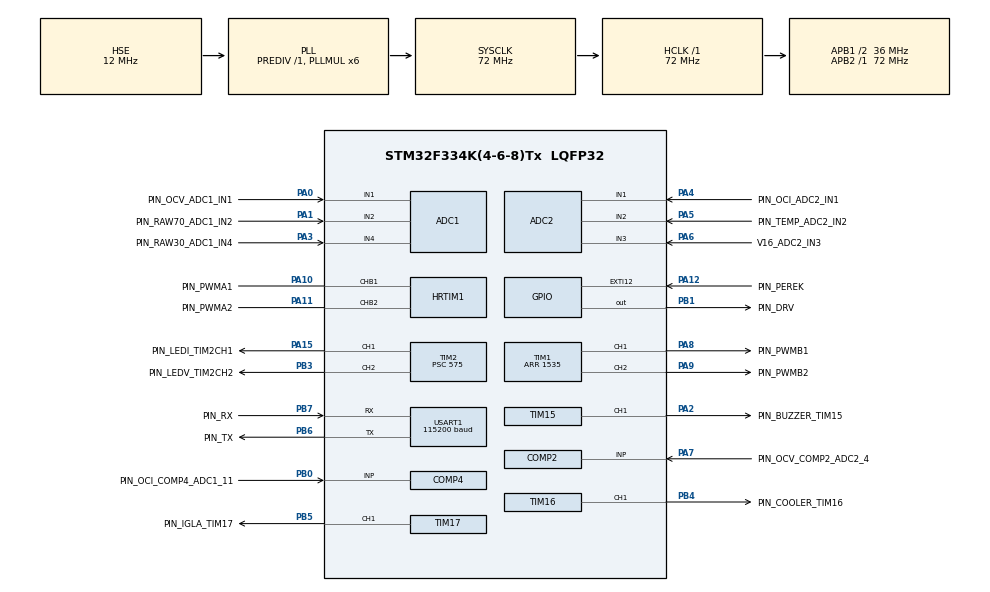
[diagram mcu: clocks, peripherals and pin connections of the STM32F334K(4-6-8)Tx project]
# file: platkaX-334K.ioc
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ADC1.AWD1HighThreshold=1900
ADC1.AWD1ITMode=DISABLE
ADC1.AWD1LowThreshold=1100
ADC1.AWD3HighThreshold=4095
ADC1.AWD3ITMode=DISABLE
ADC1.AWD3LowThreshold=0
ADC1.ContinuousConvMode=DISABLE
ADC1.DMAContinuousRequests=DISABLE
ADC1.EOCSelection=ADC_EOC_SEQ_CONV
ADC1.EnableAnalogWatchDog1=true
ADC1.EnableAnalogWatchDog2=false
ADC1.EnableAnalogWatchDog3=true
ADC1.EnableRegularConversion=DISABLE
ADC1.ExternalTrigInjecConv=ADC_EXTERNALTRIGINJECCONV_HRTIM_TRG2
ADC1.InjAWDChannel-1\#ChannelInjectedConversion=ADC_CHANNEL_1
ADC1.InjMonitoredBy-1\#ChannelInjectedConversion=ADC_ANALOGWATCHDOG_3
ADC1.InjMonitoredBy-2\#ChannelInjectedConversion=__NULL
ADC1.InjNumberOfConversion=2
ADC1.InjWDG2ChannelR1=ADC_CHANNEL_1_INJ
ADC1.InjWDG3ChannelR1=ADC_CHANNEL_1_INJ
ADC1.InjWDG3ChannelR2=ADC_CHANNEL_2_INJ
ADC1.InjWDG3ChannelR3=ADC_CHANNEL_1_INJ
ADC1.InjWDG3ChannelR4=ADC_CHANNEL_1_INJ
ADC1.InjectedChannel-1\#ChannelInjectedConversion=ADC_CHANNEL_1
ADC1.InjectedChannel-2\#ChannelInjectedConversion=ADC_CHANNEL_2
ADC1.InjectedOffset-1\#ChannelInjectedConversion=0
ADC1.InjectedOffset-2\#ChannelInjectedConversion=0
ADC1.InjectedOffsetNumber-1\#ChannelInjectedConversion=ADC_OFFSET_NONE
ADC1.InjectedOffsetNumber-2\#ChannelInjectedConversion=ADC_OFFSET_NONE
ADC1.InjectedRank-1\#ChannelInjectedConversion=1
ADC1.InjectedRank-2\#ChannelInjectedConversion=2
ADC1.InjectedSamplingTime-1\#ChannelInjectedConversion=ADC_SAMPLETIME_19CYCLES_5
ADC1.InjectedSamplingTime-2\#ChannelInjectedConversion=ADC_SAMPLETIME_19CYCLES_5
ADC1.InjectedSamplingTimeOPAMP-1\#ChannelInjectedConversion=ADC_SAMPLETIME_61CYCLES_5
ADC1.InjectedSamplingTimeOPAMP-2\#ChannelInjectedConversion=ADC_SAMPLETIME_61CYCLES_5
ADC1.SubFamily=STM32F334x8
ADC1.WDG2ChannelR1=ADC_CHANNEL_2
ADC1.WDG2ChannelR2=ADC_CHANNEL_11
ADC1.WDG2ChannelR3=ADC_CHANNEL_11
ADC1.WDG3ChannelR1=ADC_CHANNEL_2
ADC1.WatchdogChannel=ADC_CHANNEL_2
ADC1.WatchdogMode=ADC_ANALOGWATCHDOG_SINGLE_INJEC
ADC1.master=1
ADC2.AWD1HighThreshold=4095
ADC2.AWD1ITMode=DISABLE
ADC2.AWD2HighThreshold=4095
ADC2.AWD2ITMode=DISABLE
ADC2.AWD3HighThreshold=2500
ADC2.AWD3ITMode=DISABLE
ADC2.AWD3LowThreshold=900
ADC2.ContinuousConvMode=DISABLE
ADC2.DMAContinuousRequests=DISABLE
ADC2.EOCSelection=ADC_EOC_SEQ_CONV
ADC2.EnableAnalogWatchDog1=true
ADC2.EnableAnalogWatchDog2=true
ADC2.EnableAnalogWatchDog3=true
ADC2.EnableRegularConversion=DISABLE
ADC2.ExternalTrigInjecConv=ADC_EXTERNALTRIGINJECCONV_HRTIM_TRG2
ADC2.InjAWDChannel-2\#ChannelInjectedConversion=ADC_CHANNEL_2
ADC2.InjAWDChannel-3\#ChannelInjectedConversion=ADC_CHANNEL_3
ADC2.InjMonitoredBy-1\#ChannelInjectedConversion=__NULL
ADC2.InjMonitoredBy-2\#ChannelInjectedConversion=ADC_ANALOGWATCHDOG_2
ADC2.InjMonitoredBy-3\#ChannelInjectedConversion=ADC_ANALOGWATCHDOG_3
ADC2.InjNumberOfConversion=3
ADC2.InjWDG2ChannelR2=ADC_CHANNEL_2_INJ
ADC2.InjWDG3ChannelR3=ADC_CHANNEL_3_INJ
ADC2.InjectedChannel-1\#ChannelInjectedConversion=ADC_CHANNEL_1
ADC2.InjectedChannel-2\#ChannelInjectedConversion=ADC_CHANNEL_2
ADC2.InjectedChannel-3\#ChannelInjectedConversion=ADC_CHANNEL_3
ADC2.InjectedOffset-1\#ChannelInjectedConversion=0
ADC2.InjectedOffset-2\#ChannelInjectedConversion=0
ADC2.InjectedOffset-3\#ChannelInjectedConversion=0
ADC2.InjectedOffsetNumber-1\#ChannelInjectedConversion=ADC_OFFSET_NONE
ADC2.InjectedOffsetNumber-2\#ChannelInjectedConversion=ADC_OFFSET_NONE
ADC2.InjectedOffsetNumber-3\#ChannelInjectedConversion=ADC_OFFSET_NONE
ADC2.InjectedRank-1\#ChannelInjectedConversion=1
ADC2.InjectedRank-2\#ChannelInjectedConversion=2
ADC2.InjectedRank-3\#ChannelInjectedConversion=3
ADC2.InjectedSamplingTime-1\#ChannelInjectedConversion=ADC_SAMPLETIME_19CYCLES_5
ADC2.InjectedSamplingTime-2\#ChannelInjectedConversion=ADC_SAMPLETIME_19CYCLES_5
ADC2.InjectedSamplingTime-3\#ChannelInjectedConversion=ADC_SAMPLETIME_19CYCLES_5
ADC2.InjectedSamplingTimeOPAMP-1\#ChannelInjectedConversion=ADC_SAMPLETIME_61CYCLES_5
ADC2.InjectedSamplingTimeOPAMP-2\#ChannelInjectedConversion=ADC_SAMPLETIME_61CYCLES_5
ADC2.InjectedSamplingTimeOPAMP-3\#ChannelInjectedConversion=ADC_SAMPLETIME_61CYCLES_5
ADC2.SubFamily=STM32F334x8
ADC2.WDG2ChannelR1=ADC_CHANNEL_4
ADC2.WDG2ChannelR3=ADC_CHANNEL_2
ADC2.WDG3ChannelR2=ADC_CHANNEL_3
ADC2.WatchdogMode=ADC_ANALOGWATCHDOG_SINGLE_INJEC
COMP2.InvertingInput=COMP_INVERTINGINPUT_DAC1_CH2
COMP4.InvertingInput=COMP_INVERTINGINPUT_DAC2_CH1
DAC1.DAC_Trigger2=DAC_TRIGGER_NONE
DAC2.DAC_Trigger=DAC_TRIGGER_NONE
Dma.Request0=USART1_TX
Dma.Request1=USART1_RX
Dma.USART1_RX.1.Direction=DMA_PERIPH_TO_MEMORY
Dma.USART1_RX.1.Instance=DMA1_Channel5
Dma.USART1_RX.1.MemDataAlignment=DMA_MDATAALIGN_BYTE
Dma.USART1_RX.1.MemInc=DMA_MINC_ENABLE
Dma.USART1_RX.1.Mode=DMA_CIRCULAR
Dma.USART1_RX.1.PeriphDataAlignment=DMA_PDATAALIGN_BYTE
Dma.USART1_RX.1.PeriphInc=DMA_PINC_DISABLE
Dma.USART1_RX.1.Priority=DMA_PRIORITY_LOW
Dma.USART1_TX.0.Direction=DMA_MEMORY_TO_PERIPH
Dma.USART1_TX.0.Instance=DMA1_Channel4
Dma.USART1_TX.0.MemDataAlignment=DMA_MDATAALIGN_BYTE
Dma.USART1_TX.0.MemInc=DMA_MINC_ENABLE
Dma.USART1_TX.0.Mode=DMA_CIRCULAR
Dma.USART1_TX.0.PeriphDataAlignment=DMA_PDATAALIGN_BYTE
Dma.USART1_TX.0.PeriphInc=DMA_PINC_DISABLE
Dma.USART1_TX.0.Priority=DMA_PRIORITY_LOW
HRTIM1.ADCTrigger2_Source1=HRTIM_ADCTRIGGEREVENT24_MASTER_CMP2
HRTIM1.ADCTrigger2_Source2=HRTIM_ADCTRIGGEREVENT24_MASTER_CMP4
HRTIM1.ADCTrigger_Id2=HRTIM_ADCTRIGGER_2
HRTIM1.CaptureUnit1-Output_TB1TB2=HRTIM_CAPTUREUNIT_1
HRTIM1.CaptureUnit2-Output_TB1TB2=HRTIM_CAPTUREUNIT_2
HRTIM1.CompareUnit1-MasterTimer=HRTIM_COMPAREUNIT_1
HRTIM1.CompareUnit1-Output_TB1TB2=HRTIM_COMPAREUNIT_1
HRTIM1.CompareUnit2-MasterTimer=HRTIM_COMPAREUNIT_2
HRTIM1.CompareUnit2-Output_TB1TB2=HRTIM_COMPAREUNIT_2
HRTIM1.CompareUnit3-MasterTimer=HRTIM_COMPAREUNIT_3
HRTIM1.CompareUnit3-Output_TB1TB2=HRTIM_COMPAREUNIT_3
HRTIM1.CompareUnit4-MasterTimer=HRTIM_COMPAREUNIT_4
HRTIM1.CompareUnit4-Output_TB1TB2=HRTIM_COMPAREUNIT_4
HRTIM1.CompareValue1-MasterTimer=4096
HRTIM1.CompareValue1-Output_TB1TB2=4096
HRTIM1.CompareValue2-MasterTimer=6144
HRTIM1.CompareValue2-Output_TB1TB2=24576
HRTIM1.CompareValue3-MasterTimer=28672
HRTIM1.CompareValue3-Output_TB1TB2=28672
HRTIM1.CompareValue4-MasterTimer=30720
HRTIM1.CompareValue4-Output_TB1TB2=49152
HRTIM1.DMARequests1_Master=HRTIM_MASTER_DMA_NONE
HRTIM1.Event_EEV1=HRTIM_EVENT_1
HRTIM1.Event_EEV2=HRTIM_EVENT_2
HRTIM1.Event_EEV3=HRTIM_EVENT_3
HRTIM1.Event_EEV4=HRTIM_EVENT_4
HRTIM1.Event_EEV5=HRTIM_EVENT_5
HRTIM1.Event_EEV6=HRTIM_EVENT_6
HRTIM1.Event_EEV7=__NULL
HRTIM1.Event_EEV8=__NULL
HRTIM1.Event_EEV9=__NULL
HRTIM1.FastMode_EEV1=HRTIM_EVENTFASTMODE_ENABLE
HRTIM1.FastMode_EEV2=HRTIM_EVENTFASTMODE_ENABLE
HRTIM1.FastMode_EEV3=HRTIM_EVENTFASTMODE_ENABLE
HRTIM1.FastMode_EEV4=HRTIM_EVENTFASTMODE_ENABLE
HRTIM1.FastMode_EEV5=HRTIM_EVENTFASTMODE_ENABLE
HRTIM1.FaultLevel1-Output_TB1TB2=HRTIM_OUTPUTFAULTLEVEL_INACTIVE
HRTIM1.FaultLevel2-Output_TB1TB2=HRTIM_OUTPUTFAULTLEVEL_INACTIVE
HRTIM1.Fault_Line1=__NULL
HRTIM1.Filter_EEV6=HRTIM_EVENTFILTER_15
HRTIM1.HRTIMInterruptResquests1=HRTIM_IT_SYSFLT
HRTIM1.InterruptRequests1-Output_TB1TB2=HRTIM_TIM_IT_CMP2
HRTIM1.InterruptRequests1_Master=HRTIM_MASTER_IT_MREP
HRTIM1.ModeTimeBase-Output_TB1TB2=HRTIM_MODE_SINGLESHOT_RETRIGGERABLE
HRTIM1.NumberADCTriggerSource2=2
HRTIM1.NumberDMARequests_Master=0
HRTIM1.NumberFaultEnable-Output_TB1TB2=0
HRTIM1.NumberInterruptRequests-Output_TB1TB2=1
HRTIM1.NumberInterruptRequests_Master-MasterTimer=1
HRTIM1.NumberResetSource1-Output_TB1TB2=10
HRTIM1.NumberResetSource2_TB=10
HRTIM1.NumberResetTrigger-Output_TB1TB2=1
HRTIM1.NumberSetSource1-Output_TB1TB2=1
HRTIM1.NumberSetSource2_TB=1
HRTIM1.NumberTriggerSource_Captureconfig1-Output_TB1TB2=1
HRTIM1.NumberTriggerSource_Captureconfig2-Output_TB1TB2=1
HRTIM1.NumberUpdateTrigger-Output_TB1TB2=1
HRTIM1.Periode_MASTER=49152
HRTIM1.Periode_TB=49152
HRTIM1.PreloadEnable-MasterTimer=HRTIM_PRELOAD_ENABLED
HRTIM1.PreloadEnable-Output_TB1TB2=HRTIM_PRELOAD_ENABLED
HRTIM1.PrescalerRatio_MASTER=HRTIM_PRESCALERRATIO_MUL16
HRTIM1.PrescalerRatio_TB=HRTIM_PRESCALERRATIO_MUL16
HRTIM1.RepetitionUpdate-MasterTimer=HRTIM_UPDATEONREPETITION_ENABLED
HRTIM1.RepetitionUpdate-Output_TB1TB2=HRTIM_UPDATEONREPETITION_ENABLED
HRTIM1.ResetOutput1_Source1-Output_TB1TB2=HRTIM_OUTPUTRESET_TIMCMP2
HRTIM1.ResetOutput1_Source10-Output_TB1TB2=HRTIM_OUTPUTRESET_EEV_6
HRTIM1.ResetOutput1_Source2-Output_TB1TB2=HRTIM_OUTPUTRESET_MASTERCMP3
HRTIM1.ResetOutput1_Source3-Output_TB1TB2=HRTIM_OUTPUTRESET_MASTERCMP4
HRTIM1.ResetOutput1_Source4-Output_TB1TB2=HRTIM_OUTPUTRESET_MASTERPER
HRTIM1.ResetOutput1_Source5-Output_TB1TB2=HRTIM_OUTPUTRESET_TIMCMP3
HRTIM1.ResetOutput1_Source6-Output_TB1TB2=HRTIM_OUTPUTRESET_TIMCMP4
HRTIM1.ResetOutput1_Source7-Output_TB1TB2=HRTIM_OUTPUTRESET_EEV_3
HRTIM1.ResetOutput1_Source8-Output_TB1TB2=HRTIM_OUTPUTRESET_EEV_4
HRTIM1.ResetOutput1_Source9-Output_TB1TB2=HRTIM_OUTPUTRESET_EEV_5
HRTIM1.ResetOutput2_Source1-Output_TB1TB2=HRTIM_OUTPUTRESET_TIMCMP4
HRTIM1.ResetOutput2_Source10-Output_TB1TB2=HRTIM_OUTPUTRESET_EEV_6
HRTIM1.ResetOutput2_Source2-Output_TB1TB2=HRTIM_OUTPUTRESET_MASTERPER
HRTIM1.ResetOutput2_Source3-Output_TB1TB2=HRTIM_OUTPUTRESET_MASTERCMP1
HRTIM1.ResetOutput2_Source4-Output_TB1TB2=HRTIM_OUTPUTRESET_MASTERCMP2
HRTIM1.ResetOutput2_Source5-Output_TB1TB2=HRTIM_OUTPUTRESET_TIMCMP1
HRTIM1.ResetOutput2_Source6-Output_TB1TB2=HRTIM_OUTPUTRESET_TIMCMP2
HRTIM1.ResetOutput2_Source7-Output_TB1TB2=HRTIM_OUTPUTRESET_EEV_3
HRTIM1.ResetOutput2_Source8-Output_TB1TB2=HRTIM_OUTPUTRESET_EEV_4
HRTIM1.ResetOutput2_Source9-Output_TB1TB2=HRTIM_OUTPUTRESET_EEV_5
HRTIM1.ResetTrigger1-Output_TB1TB2=HRTIM_TIMRESETTRIGGER_MASTER_PER
HRTIM1.ResetUpdate-Output_TB1TB2=HRTIM_TIMUPDATEONRESET_ENABLED
HRTIM1.SetOutput1_Source1-Output_TB1TB2=HRTIM_OUTPUTSET_TIMCMP1
HRTIM1.SetOutput2_Source1-Output_TB1TB2=HRTIM_OUTPUTSET_TIMCMP3
HRTIM1.Source_EEV3=HRTIM_EVENTSRC_4
HRTIM1.Source_EEV4=HRTIM_EVENTSRC_4
HRTIM1.Source_EEV6=HRTIM_EVENTSRC_4
HRTIM1.TriggerCapture1_Source1-Output_TB1TB2=HRTIM_CAPTURETRIGGER_EEV_1
HRTIM1.TriggerCapture2_Source1-Output_TB1TB2=HRTIM_CAPTURETRIGGER_EEV_2
HRTIM1.UpdateTrigger1-Output_TB1TB2=HRTIM_TIMUPDATETRIGGER_MASTER
IWDG.Prescaler=IWDG_PRESCALER_256
Mcu.Family=STM32F3
Mcu.Name=STM32F334K(4-6-8)Tx
Mcu.Package=LQFP32
NVIC.ADC1_2_IRQn=true\:1\:0\:true\:true\:true\:4\:true\:true
NVIC.DMA1_Channel4_IRQn=true\:4\:0\:true\:true\:true\:7\:false\:true
NVIC.DMA1_Channel5_IRQn=true\:4\:0\:true\:true\:true\:8\:false\:true
NVIC.EXTI15_10_IRQn=true\:3\:0\:true\:true\:true\:6\:true\:true
NVIC.HRTIM1_FLT_IRQn=true\:0\:0\:false\:true\:true\:3\:true\:true
NVIC.HRTIM1_Master_IRQn=true\:0\:0\:false\:true\:true\:1\:true\:true
NVIC.HRTIM1_TIMB_IRQn=true\:0\:0\:false\:true\:true\:2\:true\:true
NVIC.PVD_IRQn=true\:3\:0\:true\:true\:true\:5\:true\:true
NVIC.PriorityGroup=NVIC_PRIORITYGROUP_4
NVIC.USART1_IRQn=true\:5\:0\:true\:true\:true\:9\:true\:true
PA0.GPIO_Label=PIN_OCV_ADC1_IN1
PA0.Mode=IN1-Single-Ended
PA0.Signal=ADC1_IN1
PA1.GPIO_Label=PIN_RAW70_ADC1_IN2
PA1.Mode=IN2-Single-Ended
PA1.Signal=ADC1_IN2
PA10.GPIO_Label=PIN_PWMA1
PA10.Mode=Output_TB1TB2
PA10.Signal=HRTIM1_CHB1
PA11.GPIO_Label=PIN_PWMA2
PA11.Mode=Output_TB1TB2
PA11.Signal=HRTIM1_CHB2
PA12.GPIO_Label=PIN_PEREK
PA12.GPIO_ModeDefaultEXTI=GPIO_MODE_IT_RISING_FALLING
PA12.Signal=GPXTI12
PA13.GPIO_Label=PIN_DIO
PA13.Mode=Serial_Wire
PA13.Signal=SYS_JTMS-SWDIO
PA14.GPIO_Label=PIN_CLK
PA14.Mode=Serial_Wire
PA14.Signal=SYS_JTCK-SWCLK
PA15.GPIO_Label=PIN_LEDI_TIM2CH1
PA15.GPIO_Speed=GPIO_SPEED_FREQ_HIGH
PA15.Signal=S_TIM2_CH1_ETR
PA2.GPIO_Label=PIN_BUZZER_TIM15
PA2.GPIO_Speed=GPIO_SPEED_FREQ_HIGH
PA2.Signal=S_TIM15_CH1
PA3.GPIO_Label=PIN_RAW30_ADC1_IN4
PA3.Mode=IN4-Single-Ended
PA3.Signal=ADC1_IN4
PA4.GPIO_Label=PIN_OCI_ADC2_IN1
PA4.Mode=IN1-Single-Ended
PA4.Signal=ADC2_IN1
PA5.GPIO_Label=PIN_TEMP_ADC2_IN2
PA5.Mode=IN2-Single-Ended
PA5.Signal=ADC2_IN2
PA6.GPIO_Label=V16_ADC2_IN3
PA6.Mode=IN3-Single-Ended
PA6.Signal=ADC2_IN3
PA7.GPIO_Label=PIN_OCV_COMP2_ADC2_4
PA7.Signal=SharedAnalog_PA7
PA8.GPIO_Label=PIN_PWMB1
PA8.GPIO_Speed=GPIO_SPEED_FREQ_HIGH
PA8.Signal=S_TIM1_CH1
PA9.GPIO_Label=PIN_PWMB2
PA9.GPIO_Speed=GPIO_SPEED_FREQ_HIGH
PA9.Signal=S_TIM1_CH2
PB0.GPIO_Label=PIN_OCI_COMP4_ADC1_11
PB0.Signal=SharedAnalog_PB0
PB1.GPIO_Label=PIN_DRV
PB1.GPIO_Speed=GPIO_SPEED_FREQ_HIGH
PB1.PinState=GPIO_PIN_SET
PB1.Signal=GPIO_Output
PB3.GPIO_Label=PIN_LEDV_TIM2CH2
PB3.GPIO_Speed=GPIO_SPEED_FREQ_HIGH
PB3.Signal=S_TIM2_CH2
PB4.GPIO_Label=PIN_COOLER_TIM16
PB4.GPIO_Speed=GPIO_SPEED_FREQ_HIGH
PB4.Signal=S_TIM16_CH1
PB5.GPIO_Label=PIN_IGLA_TIM17
PB5.GPIO_Speed=GPIO_SPEED_FREQ_HIGH
PB5.Signal=S_TIM17_CH1
PB6.GPIO_FM6=SYSCFG_CFGR1_I2C_PB6_FMP
PB6.GPIO_Label=PIN_TX
PB6.Mode=Asynchronous
PB6.Signal=USART1_TX
PB7.GPIO_FM7=SYSCFG_CFGR1_I2C_PB7_FMP
PB7.GPIO_Label=PIN_RX
PB7.Mode=Asynchronous
PB7.Signal=USART1_RX
PF0\ /\ OSC_IN.GPIO_Label=PIN_PF0
PF0\ /\ OSC_IN.Mode=HSE-External-Oscillator
PF0\ /\ OSC_IN.Signal=RCC_OSC_IN
PF1\ /\ OSC_OUT.GPIO_Label=PIN_PF1
PF1\ /\ OSC_OUT.Mode=HSE-External-Oscillator
PF1\ /\ OSC_OUT.Signal=RCC_OSC_OUT
ProjectManager.HeapSize=0x200
ProjectManager.StackSize=0x400
ProjectManager.TargetToolchain=STM32CubeIDE
RCC.AHBFreq_Value=72000000
RCC.APB1CLKDivider=RCC_HCLK_DIV2
RCC.APB1Freq_Value=36000000
RCC.APB1TimFreq_Value=72000000
RCC.APB2Freq_Value=72000000
RCC.APB2TimFreq_Value=72000000
RCC.CortexFreq_Value=72000000
RCC.HCLKFreq_Value=72000000
RCC.HRTIMSelection=RCC_HRTIM1CLK_PLLCLK
RCC.HSE_VALUE=12000000
RCC.HSI_VALUE=8000000
RCC.PLLMUL=RCC_PLL_MUL6
RCC.PLLSourceVirtual=RCC_PLLSOURCE_HSE
RCC.SYSCLKFreq_VALUE=72000000
RCC.SYSCLKSourceVirtual=RCC_SYSCLKSOURCE_PLLCLK
RCC.TIM1Selection=RCC_TIM1CLK_PLLCLK
RCC.Usart1ClockSelection=RCC_USART1CLKSOURCE_SYSCLK
SH.S_TIM15_CH1.0=TIM15_CH1,PWM Generation1 CH1
SH.S_TIM16_CH1.0=TIM16_CH1,PWM Generation1 CH1
SH.S_TIM17_CH1.0=TIM17_CH1,PWM Generation1 CH1
SH.S_TIM1_CH1.0=TIM1_CH1,PWM Generation1 CH1
SH.S_TIM1_CH2.0=TIM1_CH2,PWM Generation2 CH2
SH.S_TIM2_CH1_ETR.0=TIM2_CH1,PWM Generation1 CH1
SH.S_TIM2_CH2.0=TIM2_CH2,PWM Generation2 CH2
SH.SharedAnalog_PA7.0=COMP2_INP,INP
SH.SharedAnalog_PA7.1=ADC2_IN4,IN4-Single-Ended
SH.SharedAnalog_PB0.0=COMP4_INP,INP
SH.SharedAnalog_PB0.1=ADC1_IN11,IN11-Single-Ended
TIM1.AutoReloadPreload=TIM_AUTORELOAD_PRELOAD_ENABLE
TIM1.Channel-PWM\ Generation1\ CH1=TIM_CHANNEL_1
TIM1.Channel-PWM\ Generation2\ CH2=TIM_CHANNEL_2
TIM1.OCFastMode_PWM-PWM\ Generation1\ CH1=TIM_OCFAST_ENABLE
TIM1.OCFastMode_PWM-PWM\ Generation2\ CH2=TIM_OCFAST_ENABLE
TIM1.Period=1535
TIM15.AutoReloadPreload=TIM_AUTORELOAD_PRELOAD_ENABLE
TIM15.Channel-PWM\ Generation1\ CH1=TIM_CHANNEL_1
TIM15.OCFastMode_PWM-PWM\ Generation1\ CH1=TIM_OCFAST_ENABLE
TIM15.Period=63999
TIM15.Prescaler=2249
TIM15.Pulse-PWM\ Generation1\ CH1=64
TIM16.AutoReloadPreload=TIM_AUTORELOAD_PRELOAD_ENABLE
TIM16.Channel=TIM_CHANNEL_1
TIM16.OCFastMode_PWM=TIM_OCFAST_ENABLE
TIM16.Period=35999
TIM16.Prescaler=1
TIM16.Pulse=18000
TIM17.AutoReloadPreload=TIM_AUTORELOAD_PRELOAD_ENABLE
TIM17.AutomaticOutput=TIM_AUTOMATICOUTPUT_DISABLE
TIM17.BreakState=TIM_BREAK_DISABLE
TIM17.Channel=TIM_CHANNEL_1
TIM17.OCFastMode_PWM=TIM_OCFAST_ENABLE
TIM17.OffStateIDLEMode=TIM_OSSI_DISABLE
TIM17.OffStateRunMode=TIM_OSSR_DISABLE
TIM17.Period=7199
TIM17.Pulse=3600
TIM2.AutoReloadPreload=TIM_AUTORELOAD_PRELOAD_ENABLE
TIM2.Channel-PWM\ Generation1\ CH1=TIM_CHANNEL_1
TIM2.Channel-PWM\ Generation2\ CH2=TIM_CHANNEL_2
TIM2.OCFastMode_PWM-PWM\ Generation1\ CH1=TIM_OCFAST_ENABLE
TIM2.OCFastMode_PWM-PWM\ Generation2\ CH2=TIM_OCFAST_ENABLE
TIM2.Period=62499
TIM2.Prescaler=575
TIM2.Pulse-PWM\ Generation1\ CH1=625
TIM2.Pulse-PWM\ Generation2\ CH2=625
USART1.BaudRate=115200
USART1.VirtualMode-Asynchronous=VM_ASYNC
VP_COMP2_VS_DAC1OUT2.Mode=INM_DAC1OUT2
VP_COMP4_VS_DAC2OUT1.Mode=INM_DAC2OUT1
VP_CRC_VS_CRC.Mode=CRC_Activate
VP_DAC1_Switcher_Out2.Mode=Switch_Disable_OUT2
VP_DAC2_Switcher_Out1.Mode=Switch_Disable_OUT1
VP_HRTIM1_VS_hrtimMasterTimerNoOutput.Mode=MasterTimer
VP_IWDG_VS_IWDG.Mode=IWDG_Activate
VP_TIM15_VS_ClockSourceINT.Mode=Internal
VP_TIM16_VS_ClockSourceINT.Mode=Enable_Timer
VP_TIM17_VS_ClockSourceINT.Mode=Enable_Timer
VP_TIM1_VS_ClockSourceINT.Mode=Internal
VP_TIM2_VS_ClockSourceINT.Mode=Internal
board=custom

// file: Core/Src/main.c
/* USER CODE BEGIN Header */
/**
  ******************************************************************************
  * @file           : main.c
  * @brief          : Main program body
  ******************************************************************************
  * @attention
  *
  * <h2><center>&copy; Copyright (c) 2020 STMicroelectronics.
  * All rights reserved.</center></h2>
  *
  * This software component is licensed by ST under BSD 3-Clause license,
  * the "License"; You may not use this file except in compliance with the
  * License. You may obtain a copy of the License at:
  *                        opensource.org/licenses/BSD-3-Clause
  *
  ******************************************************************************
  */
/* USER CODE END Header */
#include "main.h"
#include "adc.h"
#include "comp.h"
#include "crc.h"
#include "dac.h"
#include "dma.h"
#include "hrtim.h"
#include "iwdg.h"
#include "tim.h"
#include "usart.h"
#include "gpio.h"

/* USER CODE BEGIN Includes */
#include "plxOC_V.h"
#include "plxOC_I.h"
#include "plxADC.h"
#include "plxPID.h"
/* USER CODE END Includes */

/* USER CODE BEGIN PV */
float resultPID = 0.0f;
/* USER CODE END PV */

void SystemClock_Config(void);
static void MX_NVIC_Init(void);
/* USER CODE BEGIN PFP */
void PWM_OutputOFF(void);
void PWM_OutputON(void);
void ResetHRTIMdef(void);
void StartHRTIM(void);
void StopHRTIM(void);
void SetDacs(void);
void ResetDacs(void);
void SetPWMCycle(void);
/* USER CODE END PFP */

/* USER CODE BEGIN 0 */

void PWM_OutputOFF(void)
{
	HRTIM1->sCommonRegs.ODISR= HRTIM_ODISR_TB1ODIS + HRTIM_ODISR_TB2ODIS;  // Disable HRTIM's output
}

void PWM_OutputON(void)
{
	HRTIM1->sCommonRegs.OENR = HRTIM_OENR_TB1OEN + HRTIM_OENR_TB2OEN;  //Enable HRTIM's outputs
}

void ResetHRTIMdef(void)
{
	HRTIM1->sTimerxRegs[1].CMP2xR=PULS_A_END;
	HRTIM1->sTimerxRegs[1].CMP4xR=PULS_B_END;
	TIM1->CCR1=0;
	TIM1->CCR2=0;
	TOP_BOTTOM=0;
	Sinus_Ind=0;
	SetDacs();
	ResetADCBuff(plxOCV,sizeBuffer);
	ResetADCBuff(plxOCI,sizeBuffer);
	BufferIndOC=0;
}

void StartHRTIM(void)
{
	PWM_OutputON(); //Enable HRTIM's outputs
	HAL_HRTIM_WaveformCountStart_IT(&hhrtim1, HRTIM_TIMERID_MASTER +  HRTIM_TIMERID_TIMER_B); // Start HRTIM's Master TIMER and TIMER B

}

void StopHRTIM(void)
{
	PWM_OutputOFF(); // Disable HRTIM's output
	HAL_HRTIM_WaveformCountStop_IT(&hhrtim1, HRTIM_TIMERID_MASTER +  HRTIM_TIMERID_TIMER_B); // Stop HRTIM's Master TIMER and TIMER B
	ResetHRTIMdef();
}

void SetDacs(void)
{
	DAC2->DHR12R1 = Current_Level;
	DAC1->DHR12R2 = OC_V_Table[Sinus_Ind];
}

void ResetDacs(void)
{
	DAC2->DHR12R1 = Current_Level_Reset;
	DAC1->DHR12R2 = Voltage_Level_Reset;
}

/*void HAL_HRTIM_Compare2EventCallback(HRTIM_HandleTypeDef * hhrtim,
                                              uint32_t TimerIdx)
{
	ResetDacs();
	SetPWMCycle();
	SetDacs();
}*/

void SetPWMCycle(void)
{
	uint32_t a_puls=PULS_A_BEGIN+(uint32_t)(4*OC_V_Table[Sinus_Ind]);
	uint32_t b_puls=PULS_B_BEGIN+(uint32_t)(4*OC_V_Table[Sinus_Ind]);

	if (a_puls>PULS_A_END) {
		a_puls=PULS_A_END;
	}

	if (b_puls>PULS_B_END) {
		b_puls=PULS_B_END;
	}

	HRTIM1->sTimerxRegs[1].CMP2xR=a_puls;
	HRTIM1->sTimerxRegs[1].CMP4xR=b_puls;
}

void HAL_HRTIM_RepetitionEventCallback(HRTIM_HandleTypeDef * hhrtim,
                                              uint32_t TimerIdx)
{
	ResetDacs();

	if (Sinus_Ind==Sinus_Table_Resolution-1)
	{
		//Sinus_Ind=0;
		TIM1->CCR1=0;
		TIM1->CCR2=0;
		PWM_OutputOFF();
		//HRTIM1->sMasterRegs.MREP=4;
	}

	Sinus_Ind++;

	if (Sinus_Ind>=MAX_SIN) {
			Sinus_Ind=0;
			if (TOP_BOTTOM==0) {
				TIM1->CCR1=1535;
				TIM1->CCR2=0;
				TOP_BOTTOM=1; //next bottom
			} else {
				TIM1->CCR1=0;
				TIM1->CCR2=1553;
				TOP_BOTTOM=0; // next top
			}
			PWM_OutputON();
			//HRTIM1->sMasterRegs.MREP=0;
	}

	SetPWMCycle();

	SetDacs();
}

void HAL_GPIO_EXTI_Callback(uint16_t GPIO_Pin)
{
	if (HAL_GPIO_ReadPin(PIN_PEREK_GPIO_Port, PIN_PEREK_Pin)==GPIO_PIN_SET)
		{
			StartHRTIM();
		} else {
			StopHRTIM();
		}
}

void HAL_ADCEx_InjectedConvCpltCallback(ADC_HandleTypeDef* hadc)
{
	BufferInd++;
	BufferIndOC++;
	if (BufferInd>=sizeBuffer) {
		BufferInd=0;
	}
	if (BufferIndOC>=sizeBuffer) {
		BufferIndOC=0;
	}
	GetADC1();
	GetADC2();
	CalcFlag=1;
}

/* USER CODE END 0 */

int main(void)
{

  /* MCU Configuration--------------------------------------------------------*/

  /* Reset of all peripherals, Initializes the Flash interface and the Systick. */
  HAL_Init();

  /* Configure the system clock */
  SystemClock_Config();

  /* Initialize all configured peripherals */
  MX_GPIO_Init();
  MX_DMA_Init();
  MX_HRTIM1_Init();
  MX_IWDG_Init();
  MX_TIM1_Init();
  MX_USART1_UART_Init();
  MX_DAC1_Init();
  MX_DAC2_Init();
  MX_ADC1_Init();
  MX_ADC2_Init();
  MX_COMP2_Init();
  MX_COMP4_Init();
  MX_TIM2_Init();
  MX_TIM15_Init();
  MX_TIM16_Init();
  MX_TIM17_Init();
  MX_CRC_Init();

  /* Initialize interrupts */
  MX_NVIC_Init();
  /* USER CODE BEGIN 2 */

  //*****************************************************//
  //Start LED_V , LED_I Timer2
  HAL_TIM_PWM_Start(&htim2, TIM_CHANNEL_1);
  HAL_TIM_PWM_Start(&htim2, TIM_CHANNEL_2);
  //*****************************************************//

  //*****************************************************//
  //Start Buzzer Timer15
  HAL_TIM_PWM_Start(&htim15, TIM_CHANNEL_1);
  //*****************************************************//

  //*****************************************************//
  //Start Cooler Timer16
  HAL_TIM_PWM_Start(&htim16, TIM_CHANNEL_1);
  //*****************************************************//

  //*****************************************************//
  //Start IGLA Timer17
  HAL_TIM_PWM_Start(&htim17, TIM_CHANNEL_1);
  //*****************************************************//

  //*****************************************************//
  //Start 50HZ Timer1
  HAL_TIM_PWM_Start(&htim1, TIM_CHANNEL_1);
  HAL_TIM_PWM_Start(&htim1, TIM_CHANNEL_2);
  //*****************************************************//

  //*****************************************************//
  //Start DAC2 Out1 Current
  HAL_DAC_Start(&hdac2, DAC_CHANNEL_1);
  //*****************************************************//

  //*****************************************************//
  //Start DAC1 Out2 Volatge
  HAL_DAC_Start(&hdac1, DAC_CHANNEL_2);
  //*****************************************************//

  //*****************************************************//
  //Start COMP2 (Voltage) and COMP4 (Current)
  HAL_COMP_Start(&hcomp2);
  HAL_COMP_Start(&hcomp4);
  //*****************************************************//

  //*****************************************************//
  //Pre-Init Global
  ResetADCBuff(plxV16,sizeBuffer);
  ResetADCBuff(plxRAW,sizeBuffer);
  ResetADCBuff(plxTEMP,sizeBuffer);
  BufferInd=0;
  ResetHRTIMdef();
  //*****************************************************//

  //*****************************************************//
  //Start ADC1 and ADC2
  //HAL_ADC_Start_DMA(&hadc1,
  //                        (uint32_t *)ADC1_Data,
  //						  ADC1_Cnt_Channel);
  HAL_ADCEx_Calibration_Start(&hadc2,ADC_SINGLE_ENDED);
  HAL_ADCEx_Calibration_Start(&hadc1,ADC_SINGLE_ENDED);
  HAL_ADCEx_InjectedStart(&hadc1);
  HAL_ADCEx_InjectedStart_IT(&hadc2);
  //*****************************************************//

  //*****************************************************//
  //Unblock Driver Output
  HAL_GPIO_WritePin(PIN_DRV_GPIO_Port, PIN_DRV_Pin, GPIO_PIN_RESET);
  //*****************************************************//

  //*****************************************************//
  //Start
  HAL_GPIO_EXTI_Callback(PIN_PEREK_Pin);
  //*****************************************************//

  /* USER CODE END 2 */

  /* Infinite loop */
  /* USER CODE BEGIN WHILE */
  TIM15->CCR1=0; //stop Buzzer
  HAL_Delay(3000);
  StartHRTIM();

  while (1)
  {
	hiwdg.Instance->KR=IWDG_KEY_RELOAD; // reload IWDG

	if (CalcFlag==1) {
		gV16=FilterWindowMedium(plxV16, sizeBuffer, sizeWindow);
		gRAW=FilterWindowMedium(plxRAW, sizeBuffer, sizeWindow);
		gTEMP=FilterWindowMedium(plxTEMP, sizeBuffer, sizeWindow);

		hiwdg.Instance->KR=IWDG_KEY_RELOAD; // reload IWDG

		gOCV=FilterWindowMedium(plxOCV, sizeBuffer, sizeWindow);
		gOCI=FilterWindowMedium(plxOCI, sizeBuffer, sizeWindow);

		hiwdg.Instance->KR=IWDG_KEY_RELOAD; // reload IWDG

		// Volatge
		resultPID = 0.0f;
		pid_SetReference(2.2); //reference voltage opora
		pid_SetSaturation(-40000, 40000);
		pid_SetFeedback(gOCV, 0.0002);
		pid_SetCoefficient(50, 0, 0, 0, 0);
		pid_Compute();
		resultPID = pid_Get();

		// Current
		/*resultPID = 0.0f;
		pid_SetReference(2.2); //reference voltage current
		pid_SetSaturation(-40000, 40000);
		pid_SetFeedback(gOCV, 0.0002);
		pid_SetCoefficient(10, 0, 0, 0, 0);
		pid_Compute();
		resultPID = pid_Get();*/

		CalcFlag=0;
	}
    /* USER CODE END WHILE */

  }
}

void SystemClock_Config(void)
{
  RCC_OscInitTypeDef RCC_OscInitStruct = {0};
  RCC_ClkInitTypeDef RCC_ClkInitStruct = {0};
  RCC_PeriphCLKInitTypeDef PeriphClkInit = {0};

  /** Initializes the RCC Oscillators according to the specified parameters
  * in the RCC_OscInitTypeDef structure.
  */
  RCC_OscInitStruct.OscillatorType = RCC_OSCILLATORTYPE_LSI|RCC_OSCILLATORTYPE_HSE;
  RCC_OscInitStruct.HSEState = RCC_HSE_ON;
  RCC_OscInitStruct.HSEPredivValue = RCC_HSE_PREDIV_DIV1;
  RCC_OscInitStruct.HSIState = RCC_HSI_ON;
  RCC_OscInitStruct.LSIState = RCC_LSI_ON;
  RCC_OscInitStruct.PLL.PLLState = RCC_PLL_ON;
  RCC_OscInitStruct.PLL.PLLSource = RCC_PLLSOURCE_HSE;
  RCC_OscInitStruct.PLL.PLLMUL = RCC_PLL_MUL6;
  if (HAL_RCC_OscConfig(&RCC_OscInitStruct) != HAL_OK)
  {
    Error_Handler();
  }
  /** Initializes the CPU, AHB and APB buses clocks
  */
  RCC_ClkInitStruct.ClockType = RCC_CLOCKTYPE_HCLK|RCC_CLOCKTYPE_SYSCLK
                              |RCC_CLOCKTYPE_PCLK1|RCC_CLOCKTYPE_PCLK2;
  RCC_ClkInitStruct.SYSCLKSource = RCC_SYSCLKSOURCE_PLLCLK;
  RCC_ClkInitStruct.AHBCLKDivider = RCC_SYSCLK_DIV1;
  RCC_ClkInitStruct.APB1CLKDivider = RCC_HCLK_DIV2;
  RCC_ClkInitStruct.APB2CLKDivider = RCC_HCLK_DIV1;

  if (HAL_RCC_ClockConfig(&RCC_ClkInitStruct, FLASH_LATENCY_2) != HAL_OK)
  {
    Error_Handler();
  }
  PeriphClkInit.PeriphClockSelection = RCC_PERIPHCLK_HRTIM1|RCC_PERIPHCLK_USART1
                              |RCC_PERIPHCLK_TIM1|RCC_PERIPHCLK_ADC12;
  PeriphClkInit.Usart1ClockSelection = RCC_USART1CLKSOURCE_SYSCLK;
  PeriphClkInit.Adc12ClockSelection = RCC_ADC12PLLCLK_DIV1;
  PeriphClkInit.Tim1ClockSelection = RCC_TIM1CLK_PLLCLK;
  PeriphClkInit.Hrtim1ClockSelection = RCC_HRTIM1CLK_PLLCLK;
  if (HAL_RCCEx_PeriphCLKConfig(&PeriphClkInit) != HAL_OK)
  {
    Error_Handler();
  }
}

/**
  * @brief NVIC Configuration.
  * @retval None
  */
static void MX_NVIC_Init(void)
{
  /* HRTIM1_Master_IRQn interrupt configuration */
  HAL_NVIC_SetPriority(HRTIM1_Master_IRQn, 0, 0);
  HAL_NVIC_EnableIRQ(HRTIM1_Master_IRQn);
  /* HRTIM1_TIMB_IRQn interrupt configuration */
  HAL_NVIC_SetPriority(HRTIM1_TIMB_IRQn, 0, 0);
  HAL_NVIC_EnableIRQ(HRTIM1_TIMB_IRQn);
  /* HRTIM1_FLT_IRQn interrupt configuration */
  HAL_NVIC_SetPriority(HRTIM1_FLT_IRQn, 0, 0);
  HAL_NVIC_EnableIRQ(HRTIM1_FLT_IRQn);
  /* ADC1_2_IRQn interrupt configuration */
  HAL_NVIC_SetPriority(ADC1_2_IRQn, 1, 0);
  HAL_NVIC_EnableIRQ(ADC1_2_IRQn);
  /* PVD_IRQn interrupt configuration */
  HAL_NVIC_SetPriority(PVD_IRQn, 3, 0);
  HAL_NVIC_EnableIRQ(PVD_IRQn);
  /* EXTI15_10_IRQn interrupt configuration */
  HAL_NVIC_SetPriority(EXTI15_10_IRQn, 3, 0);
  HAL_NVIC_EnableIRQ(EXTI15_10_IRQn);
  /* DMA1_Channel4_IRQn interrupt configuration */
  HAL_NVIC_SetPriority(DMA1_Channel4_IRQn, 4, 0);
  HAL_NVIC_EnableIRQ(DMA1_Channel4_IRQn);
  /* DMA1_Channel5_IRQn interrupt configuration */
  HAL_NVIC_SetPriority(DMA1_Channel5_IRQn, 4, 0);
  HAL_NVIC_EnableIRQ(DMA1_Channel5_IRQn);
  /* USART1_IRQn interrupt configuration */
  HAL_NVIC_SetPriority(USART1_IRQn, 5, 0);
  HAL_NVIC_EnableIRQ(USART1_IRQn);
}

void Error_Handler(void)
{
}

/************************ (C) COPYRIGHT STMicroelectronics *****END OF FILE****/
